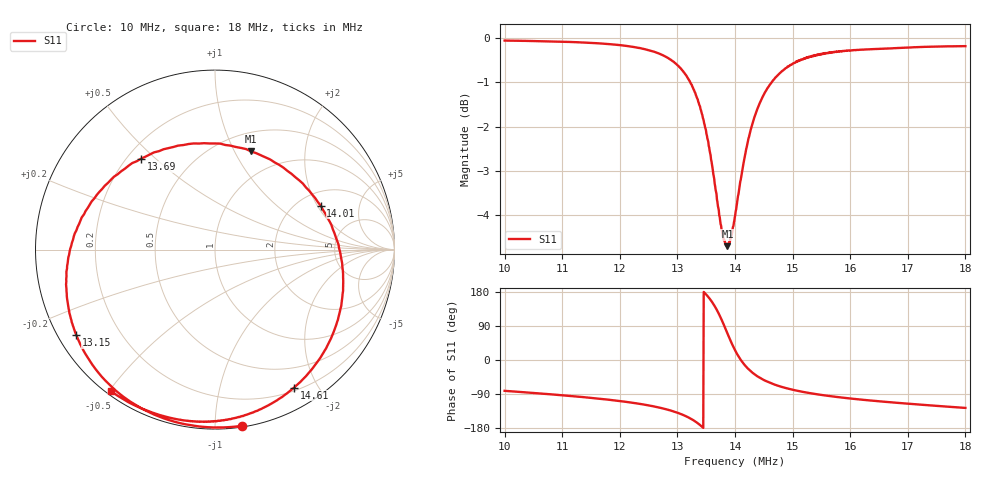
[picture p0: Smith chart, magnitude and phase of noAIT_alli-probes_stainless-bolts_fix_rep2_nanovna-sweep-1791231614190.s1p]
! NanoVNA Web complex sweep
! Processing: unaveraged complex samples; linear segment spacing; no smoothing
# Hz S RI R 50
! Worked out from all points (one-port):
!   1010 points, 10 MHz to 18 MHz, reference 50 ohm
!   lowest |S11| = -4.7 dB at 13.87 MHz (marker M1), VSWR 3.79, Z = 35.2 + j58.3 ohm
!   |S11| at or under -10 dB: nowhere
!   S11 on the Smith chart (normalised r, x): 10 MHz: 0.01, -1.16; 13.15 MHz: 0.05, -0.28; 13.69 MHz: 0.25, +0.45; 14.01 MHz: 2.59, +2.14; 14.61 MHz: 0.24, -1.70; 18 MHz: 0.01, -0.50
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1e7  0.149 -0.9819
1.100698e7  -0.0537 -0.9886
1.200604e7  -0.31 -0.931
1.260071e7  -0.5219 -0.8111
1.282272e7  -0.62 -0.7203
1.300509e7  -0.7069 -0.6059
1.314781e7  -0.7723 -0.4768
1.331432e7  -0.8256 -0.2591
1.34729e7  -0.7971 0.0382
1.359184e7  -0.6593 0.3038
1.369491e7  -0.4134 0.5062
1.378213e7  -0.1188 0.5915
1.386935e7  0.2007 0.5469
1.394071e7  0.4259 0.4224
1.400414e7  0.5734 0.2645
1.401207e7  0.5888 0.2446
1.406758e7  0.6652 0.0924
1.413101e7  0.7085 -0.0765
1.42103e7  0.7095 -0.264
1.429752e7  0.6709 -0.432
1.444024e7  0.5689 -0.6278
1.460675e7  0.4403 -0.7687
1.478119e7  0.3191 -0.8553
1.50032e7  0.1854 -0.9163
1.545515e7  -0.019 -0.9568
1.600225e7  -0.1937 -0.948
1.700131e7  -0.4158 -0.8821
1.800036e7  -0.5814 -0.7873
